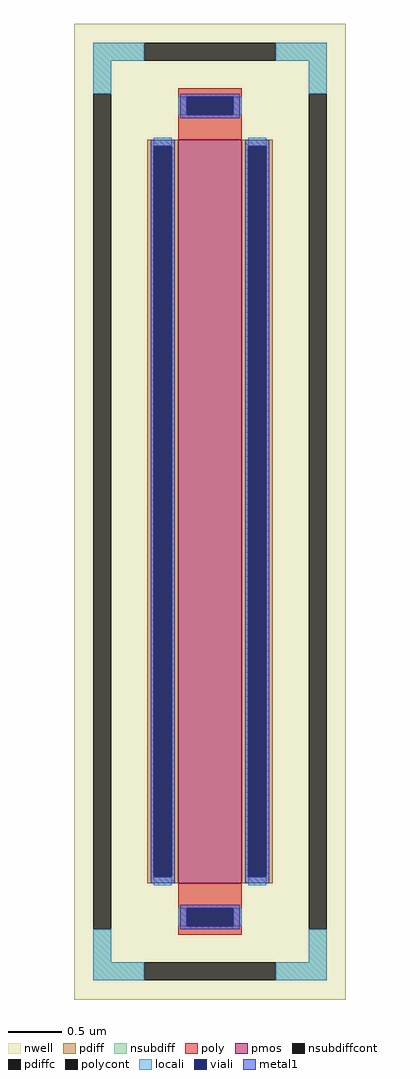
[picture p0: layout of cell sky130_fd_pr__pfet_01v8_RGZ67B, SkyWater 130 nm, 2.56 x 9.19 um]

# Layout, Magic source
magic
tech sky130A
magscale 1 2
<< nwell >>
rect -256 -919 256 919
<< pmos >>
rect -60 -700 60 700
<< pdiff >>
rect -118 688 -60 700
rect -118 -688 -106 688
rect -72 -688 -60 688
rect -118 -700 -60 -688
rect 60 688 118 700
rect 60 -688 72 688
rect 106 -688 118 688
rect 60 -700 118 -688
<< pdiffc >>
rect -106 -688 -72 688
rect 72 -688 106 688
<< nsubdiff >>
rect -220 849 -124 883
rect 124 849 220 883
rect -220 787 -186 849
rect 186 787 220 849
rect -220 -849 -186 -787
rect 186 -849 220 -787
rect -220 -883 -124 -849
rect 124 -883 220 -849
<< nsubdiffcont >>
rect -124 849 124 883
rect -220 -787 -186 787
rect 186 -787 220 787
rect -124 -883 124 -849
<< poly >>
rect -60 781 60 797
rect -60 747 -44 781
rect 44 747 60 781
rect -60 700 60 747
rect -60 -747 60 -700
rect -60 -781 -44 -747
rect 44 -781 60 -747
rect -60 -797 60 -781
<< polycont >>
rect -44 747 44 781
rect -44 -781 44 -747
<< locali >>
rect -220 849 -124 883
rect 124 849 220 883
rect -220 787 -186 849
rect 186 787 220 849
rect -60 747 -44 781
rect 44 747 60 781
rect -106 688 -72 704
rect -106 -704 -72 -688
rect 72 688 106 704
rect 72 -704 106 -688
rect -60 -781 -44 -747
rect 44 -781 60 -747
rect -220 -849 -186 -787
rect 186 -849 220 -787
rect -220 -883 -124 -849
rect 124 -883 220 -849
<< viali >>
rect -44 747 44 781
rect -106 -688 -72 688
rect 72 -688 106 688
rect -44 -781 44 -747
<< metal1 >>
rect -56 781 56 787
rect -56 747 -44 781
rect 44 747 56 781
rect -56 741 56 747
rect -112 688 -66 700
rect -112 -688 -106 688
rect -72 -688 -66 688
rect -112 -700 -66 -688
rect 66 688 112 700
rect 66 -688 72 688
rect 106 -688 112 688
rect 66 -700 112 -688
rect -56 -747 56 -741
rect -56 -781 -44 -747
rect 44 -781 56 -747
rect -56 -787 56 -781
<< properties >>
string FIXED_BBOX -203 -866 203 866
string gencell sky130_fd_pr__pfet_01v8
string library sky130
string parameters w 7.0 l 0.6 m 1 nf 1 diffcov 100 polycov 100 guard 1 glc 1 grc 1 gtc 1 gbc 1 tbcov 100 rlcov 100 topc 1 botc 1 poverlap 0 doverlap 1 lmin 0.15 wmin 0.42 class mosfet compatible {sky130_fd_pr__pfet_01v8  sky130_fd_pr__pfet_01v8_lvt sky130_fd_pr__pfet_01v8_hvt  sky130_fd_pr__pfet_g5v0d10v5} full_metal 1 viasrc 100 viadrn 100 viagate 100 viagb 0 viagr 0 viagl 0 viagt 0
<< end >>
